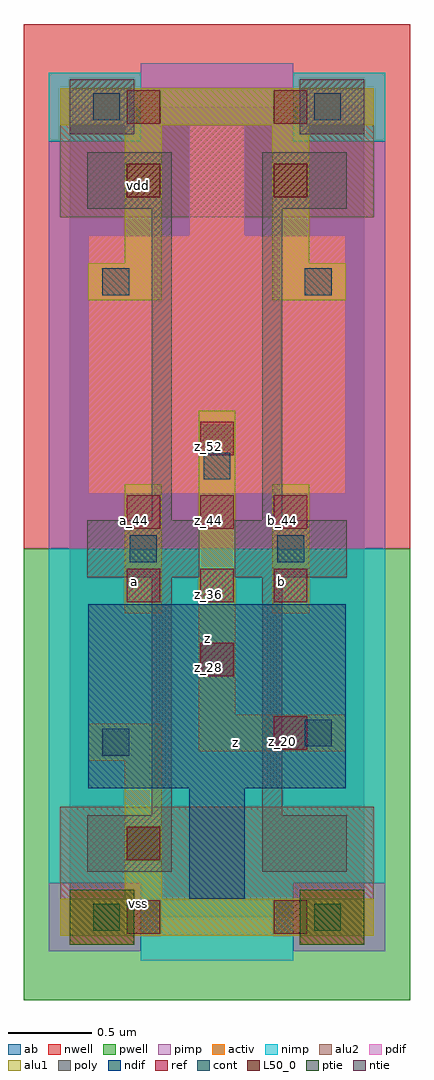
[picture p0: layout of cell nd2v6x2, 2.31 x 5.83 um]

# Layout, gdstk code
import gdstk
lib = gdstk.Library(unit=1e-6, precision=2.5e-09)
def R(c, l, rs):  # rectangles x0, y0, x1, y1
    for r in rs: c.add(gdstk.rectangle(r[:2], r[2:], *l))
def A(c, l, x, y, w, h, nx, ny, dx, dy):  # array of equal rectangles
    R(c, l, [(x+i*dx, y+j*dy, x+i*dx+w, y+j*dy+h) for i in range(nx) for j in range(ny)])
ndif = (3, 0)
pdif = (4, 0)
ntie = (5, 0)
ptie = (6, 0)
ref = (24, 0)
cont = (25, 0)
pwell = (41, 0)
nwell = (42, 0)
activ = (43, 0)
pimp = (44, 0)
nimp = (45, 0)
poly = (46, 0)
alu1 = (49, 0)
L50_0 = (50, 0)
alu2 = (51, 0)
ab = (63, 0)

nd2v6x2 = lib.new_cell('nd2v6x2')
R(nd2v6x2, ndif, [(0.715,0.11,1.045,0.77), (0.11,0.77,1.65,1.87)])
R(nd2v6x2, pdif, [(0.11,2.53,1.65,4.07), (0.715,4.07,1.045,4.73)])
R(nd2v6x2, ntie, [(0,4.675,0.385,5.005), (1.375,4.675,1.76,5.005)])
R(nd2v6x2, ptie, [(0,-0.165,0.385,0.165), (1.375,-0.165,1.76,0.165)])
A(nd2v6x2, ref, 0.34, 1.88, 0.2, 0.2, 3, 2, 0.44, 0.44)
R(nd2v6x2, ref, [(1.22,1,1.42,1.2), (0.78,1.44,0.98,1.64), (0.78,2.76,0.98,2.96)])
R(nd2v6x2, cont, [(0.14,-0.08,0.3,0.08), (1.46,-0.08,1.62,0.08), (0.195,0.965,0.355,1.125), (1.405,1.02,1.565,1.18), (0.36,2.12,0.52,2.28), (1.24,2.12,1.4,2.28), (0.8,2.615,0.96,2.775), (0.195,3.715,0.355,3.875), (1.405,3.715,1.565,3.875), (0.14,4.76,0.3,4.92), (1.46,4.76,1.62,4.92)])
R(nd2v6x2, pwell, [(-0.275,-0.495,2.035,2.2)])
R(nd2v6x2, nwell, [(-0.275,2.2,2.035,5.335)])
R(nd2v6x2, activ, [(0,-0.165,0.385,0.165), (1.375,-0.165,1.76,0.165), (0.715,0.11,1.045,0.77), (0.11,0.77,1.65,1.87), (0.11,2.53,1.65,4.07), (0.715,4.07,1.045,4.73), (0,4.675,0.385,5.005), (1.375,4.675,1.76,5.005)])
R(nd2v6x2, pimp, [(-0.125,-0.205,0.425,0.205), (1.335,-0.205,1.885,0.205), (-0.125,2.2,1.885,4.635), (0.425,4.635,1.335,5.1)])
R(nd2v6x2, nimp, [(0.425,-0.26,1.335,0.205), (-0.125,0.205,1.885,2.2), (-0.125,4.635,0.425,5.045), (1.335,4.635,1.885,5.045)])
R(nd2v6x2, poly, [(0.105,0.27,0.61,0.61), (1.15,0.27,1.655,0.61), (0.49,0.61,0.61,2.03), (1.15,0.61,1.27,2.03), (0.105,2.03,0.775,2.37), (0.985,2.03,1.655,2.37), (0.49,2.37,0.61,4.23), (1.15,2.37,1.27,4.23), (0.105,4.23,0.61,4.57), (1.15,4.23,1.655,4.57)])
R(nd2v6x2, alu1, [(-0.055,-0.11,1.815,0.11), (0.33,0.11,0.55,0.935), (0.11,0.935,0.55,1.155), (0.77,0.99,1.65,1.21), (0.77,1.21,0.99,3.025), (0.33,1.815,0.55,2.585), (1.21,1.815,1.43,2.585), (0.11,3.685,0.55,3.905), (1.21,3.685,1.65,3.905), (0.33,3.905,0.55,4.73), (1.21,3.905,1.43,4.73), (-0.055,4.73,1.815,4.95)])
R(nd2v6x2, L50_0, [(0.34,-0.1,0.54,0.1), (1.22,-0.1,1.42,0.1), (0.34,0.34,0.54,0.54), (0.34,4.3,0.54,4.5), (1.22,4.3,1.42,4.5), (0.34,4.74,0.54,4.94), (1.22,4.74,1.42,4.94)])
R(nd2v6x2, alu2, [(-0.055,-0.11,1.815,0.66), (-0.055,4.18,1.815,4.95)])
R(nd2v6x2, ab, [(0,0,1.76,4.84)])
nd2v6x2.add(gdstk.Label('z', (0.99,1.045), layer=49, texttype=0))
nd2v6x2.add(gdstk.Label('b', (1.265,2.0075), layer=49, texttype=0))
nd2v6x2.add(gdstk.Label('z', (0.825,1.6625), layer=49, texttype=0))
nd2v6x2.add(gdstk.Label('a', (0.385,2.0075), layer=49, texttype=0))
nd2v6x2.add(gdstk.Label('vss', (0.4125,0.0825), layer=51, texttype=0))
nd2v6x2.add(gdstk.Label('vdd', (0.4125,4.3725), layer=51, texttype=0))
nd2v6x2.add(gdstk.Label('a_36', (0.39,1.93), layer=24, texttype=0))
nd2v6x2.add(gdstk.Label('a_44', (0.39,2.37), layer=24, texttype=0))
nd2v6x2.add(gdstk.Label('b_36', (1.27,1.93), layer=24, texttype=0))
nd2v6x2.add(gdstk.Label('b_44', (1.27,2.37), layer=24, texttype=0))
nd2v6x2.add(gdstk.Label('z_44', (0.83,2.37), layer=24, texttype=0))
nd2v6x2.add(gdstk.Label('z_52', (0.83,2.81), layer=24, texttype=0))
nd2v6x2.add(gdstk.Label('z_36', (0.83,1.93), layer=24, texttype=0))
nd2v6x2.add(gdstk.Label('z_28', (0.83,1.49), layer=24, texttype=0))
nd2v6x2.add(gdstk.Label('z_20', (1.27,1.05), layer=24, texttype=0))

lib.write_gds('nd2v6x2.gds')
